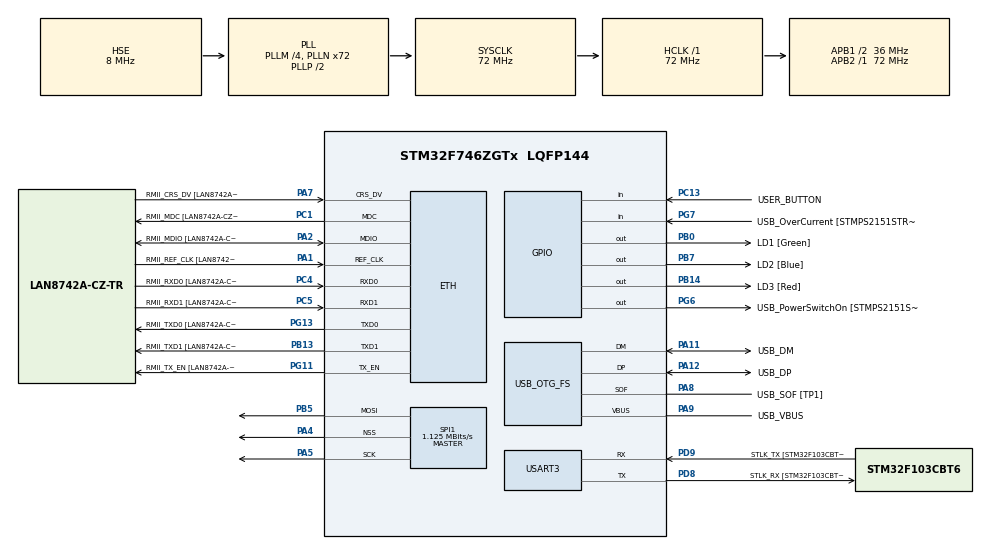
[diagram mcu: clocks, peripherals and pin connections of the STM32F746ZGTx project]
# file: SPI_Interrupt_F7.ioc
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Mcu.Family=STM32F7
RCC.CortexFreq_Value=72000000
PG6.Signal=GPIO_Output
SPI1.VirtualType=VM_MASTER
PB14.GPIO_Label=LD3 [Red]
PG6.GPIO_Label=USB_PowerSwitchOn [STMPS2151STR_EN]
PA14.GPIO_Label=TCK
RCC.SYSCLKSourceVirtual=RCC_SYSCLKSOURCE_PLLCLK
PA11.Mode=Device_Only
PB0.GPIO_Label=LD1 [Green]
PC14/OSC32_IN.Mode=LSE-External-Oscillator
PC5.Mode=RMII
PC13.GPIO_Label=USER_BUTTON
PB13.GPIO_Label=RMII_TXD1 [LAN8742A-CZ-TR_TXD1]
PB13.Signal=ETH_TXD1
PG13.Signal=ETH_TXD0
PD9.Mode=Asynchronous
PG11.Signal=ETH_TX_EN
RCC.SYSCLKSource=RCC_SYSCLKSOURCE_PLLCLK
ProjectManager.StackSize=0x400
USART3.VirtualMode-Asynchronous=VM_ASYNC
PA12.Signal=USB_OTG_FS_DP
PA4.Mode=NSS_Signal_Hard_Output
ETH.PHY_Value=0
SPI1.Direction=SPI_DIRECTION_2LINES
PH0/OSC_IN.Mode=HSE-External-Clock-Source
RCC.HCLKFreq_Value=72000000
RCC.APB2TimFreq_Value=72000000
PH1/OSC_OUT.Signal=RCC_OSC_OUT
SPI1.CalculateBaudRate=1.125 MBits/s
PD8.Signal=USART3_TX
RCC.AHBFreq_Value=72000000
RCC.HSE_VALUE=8000000
RCC.PLLMUL=RCC_PLL_MUL9
PC4.GPIO_Label=RMII_RXD0 [LAN8742A-CZ-TR_RXD0]
PA14.Mode=Serial_Wire
PB5.Mode=TX_Only_Simplex_Unidirect_Master
SPI1.DataSize=SPI_DATASIZE_8BIT
PA10.GPIO_Label=USB_ID
PC13.GPIO_PuPd=GPIO_PULLDOWN
PB7.Signal=GPIO_Output
PA8.Signal=USB_OTG_FS_SOF
SPI1.VirtualNSS=VM_NSSHARD
PG13.Mode=RMII
ETH.PHY_Name=LAN8742A_PHY_ADDRESS
PH1/OSC_OUT.Mode=HSE-External-Clock-Source
PB7.GPIO_Label=LD2 [Blue]
Mcu.Package=LQFP144
PC14/OSC32_IN.Signal=RCC_OSC32_IN
PA2.GPIO_Label=RMII_MDIO [LAN8742A-CZ-TR_MDIO]
PA10.Signal=USB_OTG_FS_ID
USB_OTG_FS.VirtualMode=Device_Only
RCC.APB1TimFreq_Value=72000000
PG11.GPIO_Label=RMII_TX_EN [LAN8742A-CZ-TR_TXEN]
PC5.Signal=ETH_RXD1
PB13.Mode=RMII
SPI1.BaudRatePrescaler=SPI_BAUDRATEPRESCALER_64
PC4.Mode=RMII
PA5.Mode=TX_Only_Simplex_Unidirect_Master
PB3.GPIO_Label=SW0
PA7.Mode=RMII
PG7.Signal=GPIO_Input
PD9.GPIO_Label=STLK_TX [STM32F103CBT6_PA2]
PC13.Signal=GPIO_Input
PA9.GPIO_Label=USB_VBUS
PC4.Signal=ETH_RXD0
PA11.GPIO_Label=USB_DM
PD9.Signal=USART3_RX
RCC.APB1CLKDivider=RCC_HCLK_DIV2
PG13.GPIO_Label=RMII_TXD0 [LAN8742A-CZ-TR_TXD0]
ETH.PhyAddress=0
PA12.GPIO_Label=USB_DP
PD8.GPIO_Label=STLK_RX [STM32F103CBT6_PA3]
PA13.Signal=SYS_JTMS-SWDIO
PA9.Mode=Activate_VBUS
PA8.GPIO_Label=USB_SOF [TP1]
ProjectManager.TargetToolchain=STM32CubeIDE
PA9.Signal=USB_OTG_FS_VBUS
RCC.USBFreq_Value=48000000
PD8.Mode=Asynchronous
PA1.Signal=ETH_REF_CLK
PB14.Signal=GPIO_Output
PA5.Signal=SPI1_SCK
board=NUCLEO-F746ZG
RCC.VCOOutputFreq_Value=144000000
NVIC.SPI1_IRQn=true\:0\:0\:false\:false\:true\:true\:true
PH0/OSC_IN.Signal=RCC_OSC_IN
RCC.APB2Freq_Value=72000000
PA1.Mode=RMII
RCC.PRESCALERUSB=RCC_USBCLKSOURCE_PLL_DIV1_5
SPI1.Mode=SPI_MODE_MASTER
PG7.GPIO_Label=USB_OverCurrent [STMPS2151STR_FAULT]
PA1.GPIO_Label=RMII_REF_CLK [LAN8742A-CZ-TR_REFCLK0]
PC1.GPIO_Label=RMII_MDC [LAN8742A-CZ-TR_MDC]
PA13.Mode=Serial_Wire
Mcu.Name=STM32F746ZGTx
PA2.Signal=ETH_MDIO
PA13.GPIO_Label=TMS
RCC.48MHZClocksFreq_Value=24000000
PB3.Signal=SYS_JTDO-SWO
PA4.Signal=SPI1_NSS
RCC.SYSCLKFreq_VALUE=72000000
PB5.Signal=SPI1_MOSI
ETH.MediaInterface=ETH_MEDIA_INTERFACE_RMII
PA7.GPIO_Label=RMII_CRS_DV [LAN8742A-CZ-TR_CRS_DV]
PA12.Mode=Device_Only
PC5.GPIO_Label=RMII_RXD1 [LAN8742A-CZ-TR_RXD1]
PC15/OSC32_OUT.Mode=LSE-External-Oscillator
PG11.Mode=RMII
PA11.Signal=USB_OTG_FS_DM
PA14.Signal=SYS_JTCK-SWCLK
ProjectManager.HeapSize=0x200
RCC.HSI_VALUE=16000000
PH0/OSC_IN.GPIO_Label=MCO [STM32F103CBT6_PA8]
RCC.PLLQ=3
NVIC.PriorityGroup=NVIC_PRIORITYGROUP_4
RCC.PLLM=4
RCC.PLLN=72
PA2.Mode=RMII
PC15/OSC32_OUT.Signal=RCC_OSC32_OUT
PA8.Mode=Activate_SOF_FS
RCC.APB1Freq_Value=36000000
PB0.Signal=GPIO_Output
PC1.Signal=ETH_MDC
PC1.Mode=RMII
PA7.Signal=ETH_CRS_DV

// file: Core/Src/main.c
/* USER CODE BEGIN Header */
/**
  ******************************************************************************
  * @file           : main.c
  * @brief          : Main program body
  ******************************************************************************
  * @attention
  *
  * <h2><center>&copy; Copyright (c) 2021 STMicroelectronics.
  * All rights reserved.</center></h2>
  *
  * This software component is licensed by ST under BSD 3-Clause license,
  * the "License"; You may not use this file except in compliance with the
  * License. You may obtain a copy of the License at:
  *                        opensource.org/licenses/BSD-3-Clause
  *
  ******************************************************************************
  */
/* USER CODE END Header */
#include "main.h"
#include "eth.h"
#include "spi.h"
#include "usart.h"
#include "usb_otg.h"
#include "gpio.h"

/* USER CODE BEGIN PTD */
enum {
	TRANSFER_WAIT,
	TRANSFER_COMPLETE,
	TRANSFER_ERROR
};
/* USER CODE END PTD */

/* USER CODE BEGIN PD */
/* Exported functions ------------------------------------------------------- */

/* USER CODE END PD */

/* USER CODE BEGIN PV */
/* Buffer used for transmission */
uint8_t aTxBuffer[400];

/* Buffer used for reception */

uint8_t i=0;

/* transfer state */
__IO uint32_t wTransferState = TRANSFER_WAIT;
/* USER CODE END PV */

void SystemClock_Config(void);

int main(void)
{

  /* MCU Configuration--------------------------------------------------------*/

  /* Reset of all peripherals, Initializes the Flash interface and the Systick. */
  HAL_Init();

  /* Configure the system clock */
  SystemClock_Config();

  /* Initialize all configured peripherals */
  MX_GPIO_Init();
  MX_ETH_Init();
  MX_USART3_UART_Init();
  MX_USB_OTG_FS_PCD_Init();
  MX_SPI1_Init();
  /* USER CODE BEGIN 2 */
//Se llena el bufer de transmision
  for (int i=0 ; i<400; i++){
	  aTxBuffer[i]=0x55;
  }
  /* USER CODE END 2 */

  /* Infinite loop */
  /* USER CODE BEGIN WHILE */
  while (1)
  {
	  	while (HAL_GPIO_ReadPin(USER_BUTTON_GPIO_Port, USER_BUTTON_Pin)!= GPIO_PIN_SET){//se ha pulsado el boton
	  	  HAL_GPIO_TogglePin(LD1_GPIO_Port, GPIO_PIN_SET);
	  	  HAL_Delay(100);
	    }
	  	HAL_Delay(1000);//rebotes
	    HAL_GPIO_WritePin(LD1_GPIO_Port, LD1_Pin, GPIO_PIN_RESET);//Se apaga el led1

	    /*##-2- Start the Full Duplex Communication process ########################*/
	    /* While the SPI in TransmitReceive process, user can transmit data through
	       "aTxBuffer" buffer & receive data through "aRxBuffer" */
	    if(HAL_SPI_Transmit_IT(&hspi1, (uint8_t*)aTxBuffer, 400) != HAL_OK)
	    {
	      /* Transfer error in transmission process */
	      Error_Handler();
	    }

	    /*##-3- Wait for the end of the transfer ###################################*/
	    /*  Before starting a new communication transfer, you must wait the callback call
	        to get the transfer complete confirmation or an error detection.
	        For simplicity reasons, this example is just waiting till the end of the
	        transfer, but application may perform other tasks while transfer operation
	        is ongoing. */
	    while (wTransferState == TRANSFER_WAIT)
	    {
	    }

	    switch (wTransferState)
	    	  {
	    	    case TRANSFER_COMPLETE:
	    	      /* Communication is completed ___________________________________________ */
	    	    	  i=1;
	    	      break;

	    	    default:
	    	    	i=5;
	    	      break;
	    }
    /* USER CODE END WHILE */

  }
}

void SystemClock_Config(void)
{
  RCC_OscInitTypeDef RCC_OscInitStruct = {0};
  RCC_ClkInitTypeDef RCC_ClkInitStruct = {0};
  RCC_PeriphCLKInitTypeDef PeriphClkInitStruct = {0};

  /** Configure LSE Drive Capability
  */
  HAL_PWR_EnableBkUpAccess();
  /** Configure the main internal regulator output voltage
  */
  __HAL_RCC_PWR_CLK_ENABLE();
  __HAL_PWR_VOLTAGESCALING_CONFIG(PWR_REGULATOR_VOLTAGE_SCALE3);
  /** Initializes the RCC Oscillators according to the specified parameters
  * in the RCC_OscInitTypeDef structure.
  */
  RCC_OscInitStruct.OscillatorType = RCC_OSCILLATORTYPE_HSE;
  RCC_OscInitStruct.HSEState = RCC_HSE_BYPASS;
  RCC_OscInitStruct.PLL.PLLState = RCC_PLL_ON;
  RCC_OscInitStruct.PLL.PLLSource = RCC_PLLSOURCE_HSE;
  RCC_OscInitStruct.PLL.PLLM = 4;
  RCC_OscInitStruct.PLL.PLLN = 72;
  RCC_OscInitStruct.PLL.PLLP = RCC_PLLP_DIV2;
  RCC_OscInitStruct.PLL.PLLQ = 3;
  if (HAL_RCC_OscConfig(&RCC_OscInitStruct) != HAL_OK)
  {
    Error_Handler();
  }
  /** Initializes the CPU, AHB and APB buses clocks
  */
  RCC_ClkInitStruct.ClockType = RCC_CLOCKTYPE_HCLK|RCC_CLOCKTYPE_SYSCLK
                              |RCC_CLOCKTYPE_PCLK1|RCC_CLOCKTYPE_PCLK2;
  RCC_ClkInitStruct.SYSCLKSource = RCC_SYSCLKSOURCE_PLLCLK;
  RCC_ClkInitStruct.AHBCLKDivider = RCC_SYSCLK_DIV1;
  RCC_ClkInitStruct.APB1CLKDivider = RCC_HCLK_DIV2;
  RCC_ClkInitStruct.APB2CLKDivider = RCC_HCLK_DIV1;

  if (HAL_RCC_ClockConfig(&RCC_ClkInitStruct, FLASH_LATENCY_2) != HAL_OK)
  {
    Error_Handler();
  }
  PeriphClkInitStruct.PeriphClockSelection = RCC_PERIPHCLK_USART3|RCC_PERIPHCLK_CLK48;
  PeriphClkInitStruct.Usart3ClockSelection = RCC_USART3CLKSOURCE_PCLK1;
  PeriphClkInitStruct.Clk48ClockSelection = RCC_CLK48SOURCE_PLL;
  if (HAL_RCCEx_PeriphCLKConfig(&PeriphClkInitStruct) != HAL_OK)
  {
    Error_Handler();
  }
}

/* USER CODE BEGIN 4 */
/**
  * @brief  TxRx Transfer completed callback.
  * @param  hspi: SPI handle
  * @note   This example shows a simple way to report end of Interrupt TxRx transfer, and
  *         you can add your own implementation.
  * @retval None
  */
void HAL_SPI_TxCpltCallback(SPI_HandleTypeDef *hspi)
{
  /* Turn LED on: Transfer in transmission process is correct */

    HAL_GPIO_WritePin(LD1_GPIO_Port, LD1_Pin, GPIO_PIN_SET);//Se apaga el led1

  wTransferState = TRANSFER_COMPLETE;
}

/**
  * @brief  SPI error callbacks.
  * @param  hspi: SPI handle
  * @note   This example shows a simple way to report transfer error, and you can
  *         add your own implementation.
  * @retval None
  */
void HAL_SPI_ErrorCallback(SPI_HandleTypeDef *hspi)
{
  wTransferState = TRANSFER_ERROR;
}

/* USER CODE END 4 */

void Error_Handler(void)
{
  __disable_irq();
  while (1)
  {
  }
}

/************************ (C) COPYRIGHT STMicroelectronics *****END OF FILE****/
